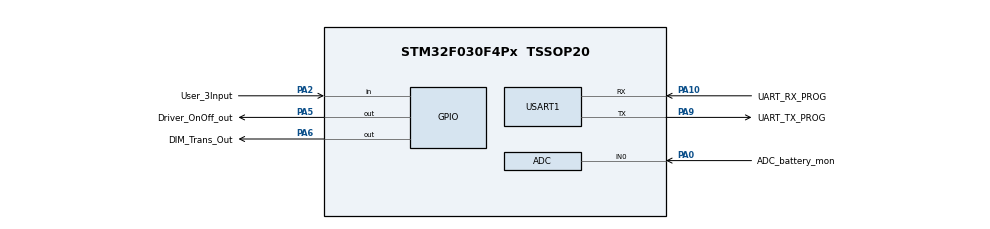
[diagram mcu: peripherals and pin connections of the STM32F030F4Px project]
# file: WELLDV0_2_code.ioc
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Mcu.Family=STM32F0
Mcu.Name=STM32F030F4Px
Mcu.Package=TSSOP20
PA0.GPIO_Label=ADC_battery_mon
PA0.Mode=IN0
PA0.Signal=ADC_IN0
PA10.GPIO_Label=UART_RX_PROG
PA10.Mode=Asynchronous
PA10.Signal=USART1_RX
PA2.GPIO_Label=User_3Input
PA2.GPIO_PuPd=GPIO_PULLUP
PA2.Signal=GPIO_Input
PA5.GPIO_Label=Driver_OnOff_out
PA5.Signal=GPIO_Output
PA6.GPIO_Label=DIM_Trans_Out
PA6.Signal=GPIO_Output
PA9.GPIO_Label=UART_TX_PROG
PA9.Mode=Asynchronous
PA9.Signal=USART1_TX
ProjectManager.HeapSize=0x200
ProjectManager.StackSize=0x400
ProjectManager.TargetToolchain=SW4STM32
USART1.VirtualMode-Asynchronous=VM_ASYNC
board=custom

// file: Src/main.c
/**
  ******************************************************************************
  * @file           : main.c
  * @brief          : Main program body
  ******************************************************************************
  ** This notice applies to any and all portions of this file
  * that are not between comment pairs USER CODE BEGIN and
  * USER CODE END. Other portions of this file, whether
  * inserted by the user or by software development tools
  * are owned by their respective copyright owners.
  *
  * COPYRIGHT(c) 2018 STMicroelectronics
  *
  * Redistribution and use in source and binary forms, with or without modification,
  * are permitted provided that the following conditions are met:
  *   1. Redistributions of source code must retain the above copyright notice,
  *      this list of conditions and the following disclaimer.
  *   2. Redistributions in binary form must reproduce the above copyright notice,
  *      this list of conditions and the following disclaimer in the documentation
  *      and/or other materials provided with the distribution.
  *   3. Neither the name of STMicroelectronics nor the names of its contributors
  *      may be used to endorse or promote products derived from this software
  *      without specific prior written permission.
  *
  * THIS SOFTWARE IS PROVIDED BY THE COPYRIGHT HOLDERS AND CONTRIBUTORS "AS IS"
  * AND ANY EXPRESS OR IMPLIED WARRANTIES, INCLUDING, BUT NOT LIMITED TO, THE
  * IMPLIED WARRANTIES OF MERCHANTABILITY AND FITNESS FOR A PARTICULAR PURPOSE ARE
  * DISCLAIMED. IN NO EVENT SHALL THE COPYRIGHT HOLDER OR CONTRIBUTORS BE LIABLE
  * FOR ANY DIRECT, INDIRECT, INCIDENTAL, SPECIAL, EXEMPLARY, OR CONSEQUENTIAL
  * DAMAGES (INCLUDING, BUT NOT LIMITED TO, PROCUREMENT OF SUBSTITUTE GOODS OR
  * SERVICES; LOSS OF USE, DATA, OR PROFITS; OR BUSINESS INTERRUPTION) HOWEVER
  * CAUSED AND ON ANY THEORY OF LIABILITY, WHETHER IN CONTRACT, STRICT LIABILITY,
  * OR TORT (INCLUDING NEGLIGENCE OR OTHERWISE) ARISING IN ANY WAY OUT OF THE USE
  * OF THIS SOFTWARE, EVEN IF ADVISED OF THE POSSIBILITY OF SUCH DAMAGE.
  *
  ******************************************************************************
  */
#include "main.h"
#include "stm32f0xx_hal.h"

ADC_HandleTypeDef hadc;

UART_HandleTypeDef huart1;

/* USER CODE BEGIN PV */
/* Private variables ---------------------------------------------------------*/

/* USER CODE END PV */

void SystemClock_Config(void);
static void MX_GPIO_Init(void);
static void MX_ADC_Init(void);
static void MX_USART1_UART_Init(void);

/* USER CODE BEGIN PFP */
/* Private function prototypes -----------------------------------------------*/

/* USER CODE END PFP */

int main(void)
{

  /* MCU Configuration----------------------------------------------------------*/

  /* Reset of all peripherals, Initializes the Flash interface and the Systick. */
  HAL_Init();

  /* Configure the system clock */
  SystemClock_Config();

  /* Initialize all configured peripherals */
  MX_GPIO_Init();
  MX_ADC_Init();
  MX_USART1_UART_Init();
  /* USER CODE BEGIN 2 */
  int state = 0; //0: off, 1: strong light, 2 Weak light

  int lastInputRead = 0;
  /* USER CODE END 2 */

  /* Infinite loop */
  /* USER CODE BEGIN WHILE */
  while (1)
  {
	  if(!HAL_GPIO_ReadPin(User_3Input_GPIO_Port, User_3Input_Pin)){ //Button is pressed and we take new state
		  if(lastInputRead == 0){
			  lastInputRead = 1;
			  if(state == 2){
				  state = 0;
			  }else{
				  state += 1;
			  }
		  }
	  }else{
		  lastInputRead = 0;
	  }

	  switch(state){
	  case 1: //strong light
		  HAL_GPIO_WritePin(Driver_OnOff_out_GPIO_Port, Driver_OnOff_out_Pin, GPIO_PIN_SET);
		  HAL_GPIO_WritePin(DIM_Trans_Out_GPIO_Port, DIM_Trans_Out_Pin, GPIO_PIN_RESET);
		  break;

	  case 2://weak light
		  HAL_GPIO_WritePin(Driver_OnOff_out_GPIO_Port, Driver_OnOff_out_Pin, GPIO_PIN_SET);
		  HAL_GPIO_WritePin(DIM_Trans_Out_GPIO_Port, DIM_Trans_Out_Pin, GPIO_PIN_SET);
		  break;

	  default:
		  HAL_GPIO_WritePin(Driver_OnOff_out_GPIO_Port, Driver_OnOff_out_Pin, GPIO_PIN_RESET);
		  HAL_GPIO_WritePin(DIM_Trans_Out_GPIO_Port, DIM_Trans_Out_Pin, GPIO_PIN_RESET);

	  }

  /* USER CODE END WHILE */

  }

}

void SystemClock_Config(void)
{

  RCC_OscInitTypeDef RCC_OscInitStruct;
  RCC_ClkInitTypeDef RCC_ClkInitStruct;
  RCC_PeriphCLKInitTypeDef PeriphClkInit;

    /**Initializes the CPU, AHB and APB busses clocks
    */
  RCC_OscInitStruct.OscillatorType = RCC_OSCILLATORTYPE_HSI|RCC_OSCILLATORTYPE_HSI14;
  RCC_OscInitStruct.HSIState = RCC_HSI_ON;
  RCC_OscInitStruct.HSI14State = RCC_HSI14_ON;
  RCC_OscInitStruct.HSICalibrationValue = 16;
  RCC_OscInitStruct.HSI14CalibrationValue = 16;
  RCC_OscInitStruct.PLL.PLLState = RCC_PLL_NONE;
  if (HAL_RCC_OscConfig(&RCC_OscInitStruct) != HAL_OK)
  {
    _Error_Handler(__FILE__, __LINE__);
  }

    /**Initializes the CPU, AHB and APB busses clocks
    */
  RCC_ClkInitStruct.ClockType = RCC_CLOCKTYPE_HCLK|RCC_CLOCKTYPE_SYSCLK
                              |RCC_CLOCKTYPE_PCLK1;
  RCC_ClkInitStruct.SYSCLKSource = RCC_SYSCLKSOURCE_HSI;
  RCC_ClkInitStruct.AHBCLKDivider = RCC_SYSCLK_DIV1;
  RCC_ClkInitStruct.APB1CLKDivider = RCC_HCLK_DIV1;

  if (HAL_RCC_ClockConfig(&RCC_ClkInitStruct, FLASH_LATENCY_0) != HAL_OK)
  {
    _Error_Handler(__FILE__, __LINE__);
  }

  PeriphClkInit.PeriphClockSelection = RCC_PERIPHCLK_USART1;
  PeriphClkInit.Usart1ClockSelection = RCC_USART1CLKSOURCE_PCLK1;
  if (HAL_RCCEx_PeriphCLKConfig(&PeriphClkInit) != HAL_OK)
  {
    _Error_Handler(__FILE__, __LINE__);
  }

    /**Configure the Systick interrupt time
    */
  HAL_SYSTICK_Config(HAL_RCC_GetHCLKFreq()/1000);

    /**Configure the Systick
    */
  HAL_SYSTICK_CLKSourceConfig(SYSTICK_CLKSOURCE_HCLK);

  /* SysTick_IRQn interrupt configuration */
  HAL_NVIC_SetPriority(SysTick_IRQn, 0, 0);
}

/* ADC init function */
static void MX_ADC_Init(void)
{

  ADC_ChannelConfTypeDef sConfig;

    /**Configure the global features of the ADC (Clock, Resolution, Data Alignment and number of conversion)
    */
  hadc.Instance = ADC1;
  hadc.Init.ClockPrescaler = ADC_CLOCK_ASYNC_DIV1;
  hadc.Init.Resolution = ADC_RESOLUTION_12B;
  hadc.Init.DataAlign = ADC_DATAALIGN_RIGHT;
  hadc.Init.ScanConvMode = ADC_SCAN_DIRECTION_FORWARD;
  hadc.Init.EOCSelection = ADC_EOC_SINGLE_CONV;
  hadc.Init.LowPowerAutoWait = DISABLE;
  hadc.Init.LowPowerAutoPowerOff = DISABLE;
  hadc.Init.ContinuousConvMode = DISABLE;
  hadc.Init.DiscontinuousConvMode = DISABLE;
  hadc.Init.ExternalTrigConv = ADC_SOFTWARE_START;
  hadc.Init.ExternalTrigConvEdge = ADC_EXTERNALTRIGCONVEDGE_NONE;
  hadc.Init.DMAContinuousRequests = DISABLE;
  hadc.Init.Overrun = ADC_OVR_DATA_PRESERVED;
  if (HAL_ADC_Init(&hadc) != HAL_OK)
  {
    _Error_Handler(__FILE__, __LINE__);
  }

    /**Configure for the selected ADC regular channel to be converted.
    */
  sConfig.Channel = ADC_CHANNEL_0;
  sConfig.Rank = ADC_RANK_CHANNEL_NUMBER;
  sConfig.SamplingTime = ADC_SAMPLETIME_1CYCLE_5;
  if (HAL_ADC_ConfigChannel(&hadc, &sConfig) != HAL_OK)
  {
    _Error_Handler(__FILE__, __LINE__);
  }

}

/* USART1 init function */
static void MX_USART1_UART_Init(void)
{

  huart1.Instance = USART1;
  huart1.Init.BaudRate = 38400;
  huart1.Init.WordLength = UART_WORDLENGTH_8B;
  huart1.Init.StopBits = UART_STOPBITS_1;
  huart1.Init.Parity = UART_PARITY_NONE;
  huart1.Init.Mode = UART_MODE_TX_RX;
  huart1.Init.HwFlowCtl = UART_HWCONTROL_NONE;
  huart1.Init.OverSampling = UART_OVERSAMPLING_16;
  huart1.Init.OneBitSampling = UART_ONE_BIT_SAMPLE_DISABLE;
  huart1.AdvancedInit.AdvFeatureInit = UART_ADVFEATURE_NO_INIT;
  if (HAL_UART_Init(&huart1) != HAL_OK)
  {
    _Error_Handler(__FILE__, __LINE__);
  }

}

/** Configure pins as
        * Analog
        * Input
        * Output
        * EVENT_OUT
        * EXTI
*/
static void MX_GPIO_Init(void)
{

  GPIO_InitTypeDef GPIO_InitStruct;

  /* GPIO Ports Clock Enable */
  __HAL_RCC_GPIOA_CLK_ENABLE();

  /*Configure GPIO pin Output Level */
  HAL_GPIO_WritePin(GPIOA, Driver_OnOff_out_Pin|DIM_Trans_Out_Pin, GPIO_PIN_RESET);

  /*Configure GPIO pin : User_3Input_Pin */
  GPIO_InitStruct.Pin = User_3Input_Pin;
  GPIO_InitStruct.Mode = GPIO_MODE_INPUT;
  GPIO_InitStruct.Pull = GPIO_PULLUP;
  HAL_GPIO_Init(User_3Input_GPIO_Port, &GPIO_InitStruct);

  /*Configure GPIO pins : Driver_OnOff_out_Pin DIM_Trans_Out_Pin */
  GPIO_InitStruct.Pin = Driver_OnOff_out_Pin|DIM_Trans_Out_Pin;
  GPIO_InitStruct.Mode = GPIO_MODE_OUTPUT_PP;
  GPIO_InitStruct.Pull = GPIO_NOPULL;
  GPIO_InitStruct.Speed = GPIO_SPEED_FREQ_LOW;
  HAL_GPIO_Init(GPIOA, &GPIO_InitStruct);

}

void _Error_Handler(char *file, int line)
{
  while(1)
  {
  }
}

/************************ (C) COPYRIGHT STMicroelectronics *****END OF FILE****/
